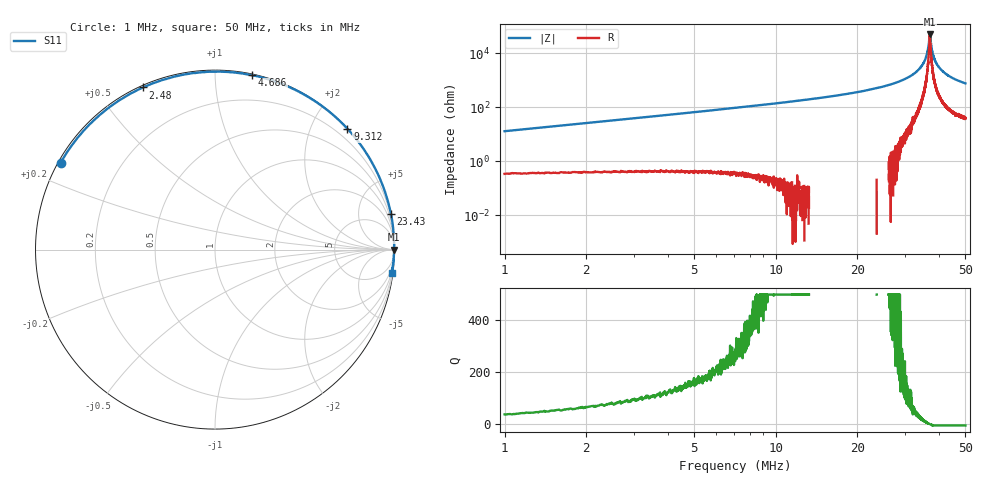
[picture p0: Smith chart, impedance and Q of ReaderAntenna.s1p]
! ListType=Lin
# MHz S RI R 50
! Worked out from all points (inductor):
!   5000 points, 1 MHz to 50 MHz, reference 50 ohm
!   read as one part to ground: L = 2.07 uH near 1.245 MHz
!   highest |Z| = 49.5 kohm at 37.01 MHz (marker M1)
!   self-resonance near 36.98 MHz
!   S11 on the Smith chart (normalised r, x): 1 MHz: 0.01, +0.26; 2.48 MHz: 0.01, +0.65; 4.686 MHz: 0.01, +1.24; 9.312 MHz: 0.01, +2.58; 23.43 MHz: -0, +10; 50 MHz: 1, -15
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1  -0.8607 0.4833
1.117624  -0.8317 0.5311
1.245049  -0.7978 0.5806
1.529306  -0.7154 0.6801
1.823365  -0.622 0.7663
2.146829  -0.5149 0.8423
2.480096  -0.4033 0.9032
2.95059  -0.2504 0.9578
3.440688  -0.1018 0.9853
4.058212  0.0645 0.9903
4.685537  0.2077 0.9712
5.234447  0.3141 0.9433
5.842168  0.413 0.906
6.440088  0.4944 0.865
7.126225  0.5715 0.8168
8.175035  0.6636 0.7453
9.312062  0.7373 0.6734
11.08622  0.8175 0.5757
13.25245  0.8788 0.4772
16.06561  0.9272 0.376
19.37868  0.9593 0.284
23.42689  0.981 0.1964
25.5049  0.9878 0.1584
31.63113  0.9968 0.0659
37.0124  0.998 -0.000368
37.75735  0.9978 -0.0085
43.88358  0.9934 -0.0723
50  0.9846 -0.1284
